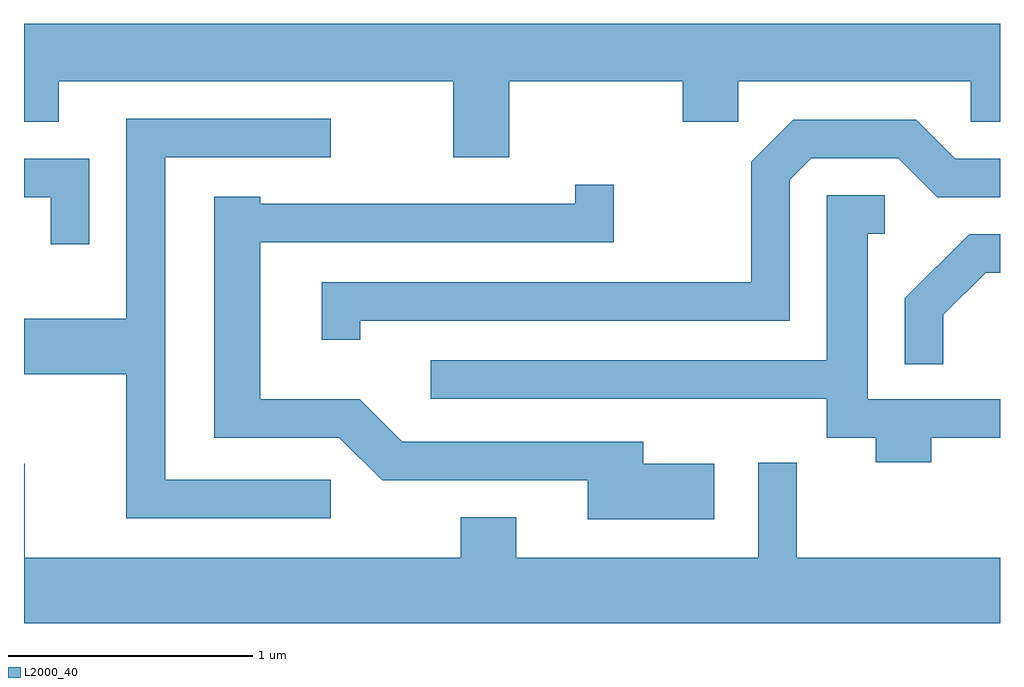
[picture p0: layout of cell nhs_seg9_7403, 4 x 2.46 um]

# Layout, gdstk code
import gdstk
lib = gdstk.Library(unit=1e-6, precision=1e-09)
def P(c, l, *ps):  # polygons
    for p in ps: c.add(gdstk.Polygon(p, *l))
L2000_40 = (2000, 40)

nhs_seg9_7403 = lib.new_cell('nhs_seg9_7403')
P(nhs_seg9_7403, L2000_40, [(405.599,2056.196),(406.311,2056.196),(406.311,2056.031),(406.539,2056.031),(406.539,2056.196),(407.491,2056.196),(407.491,2056.031),(407.611,2056.031),(407.611,2056.432),(403.611,2056.432),(403.611,2056.031),(403.754,2056.031),(403.754,2056.196),(405.371,2056.196),(405.371,2055.886),(405.599,2055.886)],
  [(404.868,2054.564),(404.189,2054.564),(404.189,2055.886),(404.868,2055.886),(404.868,2056.044),(404.031,2056.044),(404.031,2055.224),(403.611,2055.224),(403.611,2054.996),(404.031,2054.996),(404.031,2054.406),(404.868,2054.406)],
  [(404.989,2055.216),(406.749,2055.216),(406.749,2055.794),(406.837,2055.881),(407.194,2055.881),(407.354,2055.721),(407.611,2055.721),(407.611,2055.879),(407.427,2055.879),(407.267,2056.039),(406.764,2056.039),(406.591,2055.867),(406.591,2055.374),(404.831,2055.374),(404.831,2055.137),(404.989,2055.137)],
  [(403.879,2055.879),(403.611,2055.879),(403.611,2055.721),(403.721,2055.721),(403.721,2055.528),(403.879,2055.528)],
  [(406.439,2054.629),(406.149,2054.629),(406.149,2054.719),(405.162,2054.719),(404.987,2054.894),(404.579,2054.894),(404.579,2055.536),(406.029,2055.536),(406.029,2055.773),(405.871,2055.773),(405.871,2055.694),(404.579,2055.694),(404.579,2055.724),(404.391,2055.724),(404.391,2054.736),(404.904,2054.736),(405.079,2054.561),(405.921,2054.561),(405.921,2054.401),(406.439,2054.401)],
  [(407.329,2054.736),(407.611,2054.736),(407.611,2054.894),(407.069,2054.894),(407.069,2055.571),(407.138,2055.571),(407.138,2055.729),(406.901,2055.729),(406.901,2055.054),(405.278,2055.054),(405.278,2054.896),(406.901,2054.896),(406.901,2054.736),(407.101,2054.736),(407.101,2054.636),(407.329,2054.636)],
  [(407.379,2055.239),(407.552,2055.411),(407.611,2055.411),(407.611,2055.569),(407.484,2055.569),(407.221,2055.307),(407.221,2055.038),(407.379,2055.038)],
  [(407.611,2054.244),(406.779,2054.244),(406.779,2054.633),(406.621,2054.633),(406.621,2054.244),(405.629,2054.244),(405.629,2054.409),(405.401,2054.409),(405.401,2054.244),(403.614,2054.244),(403.614,2054.629),(403.611,2054.629),(403.611,2053.976),(407.611,2053.976)])

lib.write_gds('nhs_seg9_7403.gds')
